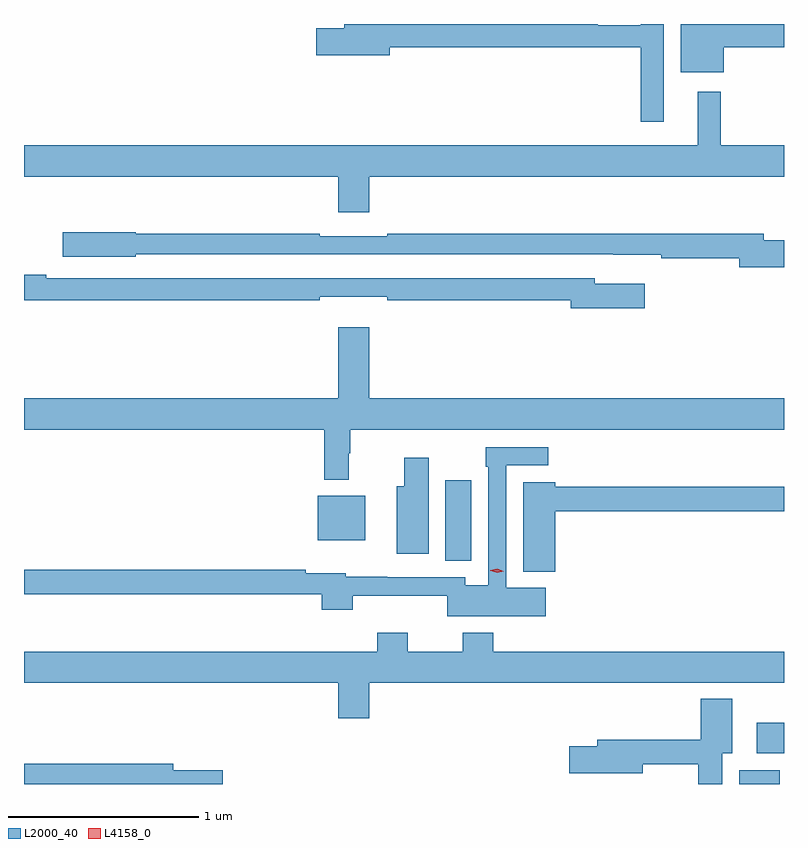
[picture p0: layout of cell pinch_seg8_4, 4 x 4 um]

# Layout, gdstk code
import gdstk
lib = gdstk.Library(unit=1e-6, precision=1e-09)
def R(c, l, rs):  # rectangles x0, y0, x1, y1
    for r in rs: c.add(gdstk.rectangle(r[:2], r[2:], *l))
def P(c, l, *ps):  # polygons
    for p in ps: c.add(gdstk.Polygon(p, *l))
L2000_40 = (2000, 40)
L4158_0 = (4158, 0)

pinch_seg8_4 = lib.new_cell('pinch_seg8_4')
R(pinch_seg8_4, L2000_40, [(1006.28,1133.283,1006.492,1133.356), (1006.371,1133.445,1006.515,1133.605), (1004.732,1134.457,1004.869,1134.883), (1004.06,1134.566,1004.311,1134.799)])
P(pinch_seg8_4, L2000_40, [(1006.198,1137.16),(1006.515,1137.16),(1006.515,1137.283),(1005.971,1137.283),(1005.971,1137.029),(1006.198,1137.029)],
  [(1005.883,1137.283),(1005.762,1137.283),(1005.762,1137.277),(1005.536,1137.277),(1005.536,1137.283),(1004.201,1137.283),(1004.201,1137.26),(1004.052,1137.26),(1004.052,1137.118),(1004.44,1137.118),(1004.44,1137.16),(1005.762,1137.16),(1005.762,1136.769),(1005.883,1136.769)],
  [(1004.332,1136.48),(1006.515,1136.48),(1006.515,1136.644),(1006.183,1136.644),(1006.183,1136.926),(1006.061,1136.926),(1006.061,1136.644),(1002.515,1136.644),(1002.515,1136.48),(1004.168,1136.48),(1004.168,1136.292),(1004.332,1136.292)],
  [(1006.515,1136.145),(1006.408,1136.145),(1006.408,1136.179),(1004.428,1136.179),(1004.428,1136.166),(1004.072,1136.166),(1004.072,1136.179),(1003.104,1136.179),(1003.104,1136.187),(1002.72,1136.187),(1002.72,1136.057),(1003.104,1136.057),(1003.104,1136.07),(1005.616,1136.07),(1005.616,1136.069),(1005.868,1136.069),(1005.868,1136.05),(1006.28,1136.05),(1006.28,1136.003),(1006.515,1136.003)],
  [(1005.781,1135.915),(1005.52,1135.915),(1005.52,1135.944),(1002.632,1135.944),(1002.632,1135.964),(1002.515,1135.964),(1002.515,1135.828),(1004.072,1135.828),(1004.072,1135.847),(1004.428,1135.847),(1004.428,1135.828),(1005.392,1135.828),(1005.392,1135.786),(1005.781,1135.786)],
  [(1004.224,1135.025),(1004.231,1135.025),(1004.231,1135.148),(1006.515,1135.148),(1006.515,1135.312),(1004.332,1135.312),(1004.332,1135.687),(1004.168,1135.687),(1004.168,1135.312),(1002.515,1135.312),(1002.515,1135.148),(1004.095,1135.148),(1004.095,1134.885),(1004.224,1134.885)],
  [(1005.262,1134.316),(1005.054,1134.316),(1005.054,1134.96),(1005.274,1134.96),(1005.274,1135.056),(1004.946,1135.056),(1004.946,1134.953),(1004.958,1134.953),(1004.958,1134.328),(1004.838,1134.328),(1004.838,1134.372),(1004.426,1134.372),(1004.426,1134.374),(1004.208,1134.374),(1004.208,1134.391),(1003.997,1134.391),(1003.997,1134.41),(1002.515,1134.41),(1002.515,1134.282),(1004.081,1134.282),(1004.081,1134.2),(1004.246,1134.2),(1004.246,1134.275),(1004.742,1134.275),(1004.742,1134.167),(1005.262,1134.167)],
  [(1004.644,1135),(1004.515,1135),(1004.515,1134.85),(1004.477,1134.85),(1004.477,1134.494),(1004.644,1134.494)],
  [(1005.31,1134.718),(1006.515,1134.718),(1006.515,1134.847),(1005.31,1134.847),(1005.31,1134.871),(1005.143,1134.871),(1005.143,1134.401),(1005.31,1134.401)],
  [(1004.332,1133.816),(1006.515,1133.816),(1006.515,1133.98),(1004.984,1133.98),(1004.984,1134.079),(1004.824,1134.079),(1004.824,1133.98),(1004.535,1133.98),(1004.535,1134.079),(1004.375,1134.079),(1004.375,1133.98),(1002.515,1133.98),(1002.515,1133.816),(1004.168,1133.816),(1004.168,1133.628),(1004.332,1133.628)],
  [(1006.189,1133.444),(1006.243,1133.444),(1006.243,1133.731),(1006.076,1133.731),(1006.076,1133.515),(1005.533,1133.515),(1005.533,1133.481),(1005.384,1133.481),(1005.384,1133.339),(1005.772,1133.339),(1005.772,1133.386),(1006.064,1133.386),(1006.064,1133.283),(1006.189,1133.283)],
  [(1003.561,1133.355),(1003.3,1133.355),(1003.3,1133.389),(1002.515,1133.389),(1002.515,1133.283),(1003.561,1133.283)])
P(pinch_seg8_4, L4158_0, [(1005.005,1134.395),(1004.97,1134.406),(1004.97,1134.407),(1004.97,1134.407),(1005.006,1134.415),(1005.04,1134.404),(1005.04,1134.404),(1005.04,1134.404)])

lib.write_gds('pinch_seg8_4.gds')
